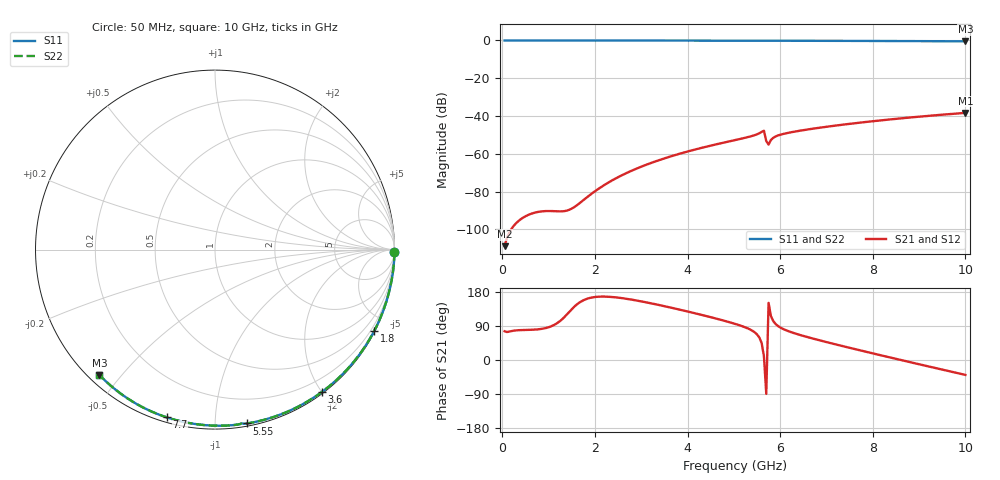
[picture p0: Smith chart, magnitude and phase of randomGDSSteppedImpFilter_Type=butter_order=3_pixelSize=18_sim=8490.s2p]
! freq	dB(S11)	phase(S11)	dB(S12)	phase(S12)
!  dB(S21)	phase(S21)	dB(S22)	phase(S22)
!S-par simulation data
#  GHz  S  DB  R 50
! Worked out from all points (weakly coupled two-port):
!   200 points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, 50 MHz to 10 GHz, reference 50 ohm
!   highest |S21| = -38.34 dB at 10 GHz (marker M1); lowest = -108.9 dB at 50 MHz (marker M2)
!   lowest |S11| = -0.4 dB at 10 GHz (marker M3), VSWR 38.79, Z = 1.54 - j21.9 ohm
!   |S11| at or under -10 dB: nowhere
!   |S22| runs from -0.4 to 0.0 dB; largest |S21 - S12| = 0
!   S11 on the Smith chart (normalised r, x): 50 MHz: open; 1.8 GHz: 0.04, -4.13; 3.6 GHz: 0.02, -2.00; 5.55 GHz: 0.02, -1.20; 7.7 GHz: 0.02, -0.75; 10 GHz: 0.03, -0.44
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0.05  -0.00 -0.8  -108.92 75.8  -108.92 75.8  -0.00 -0.8
0.9  -0.02 -13.7  -90.41 83.3  -90.41 83.3  -0.02 -13.7
1.75  -0.03 -26.5  -84.58 157.5  -84.58 157.5  -0.03 -26.5
1.8  -0.03 -27.2  -83.59 160.2  -83.59 160.2  -0.03 -27.2
2  -0.04 -30.2  -79.88 166.2  -79.88 166.2  -0.04 -30.2
2.35  -0.04 -35.3  -74.38 166.4  -74.38 166.4  -0.05 -35.3
2.65  -0.05 -39.6  -70.57 162.1  -70.57 162.1  -0.05 -39.7
3.4  -0.07 -50.4  -63.25 144.7  -63.25 144.7  -0.07 -50.4
3.6  -0.07 -53.2  -61.67 139.3  -61.67 139.3  -0.07 -53.2
4.25  -0.09 -62.2  -57.20 120.7  -57.20 120.7  -0.09 -62.2
5.05  -0.11 -72.9  -52.62 94.5  -52.62 94.5  -0.11 -72.9
5.55  -0.13 -79.5  -49.15 59.5  -49.15 59.5  -0.13 -79.5
5.65  -0.16 -80.9  -47.81 9.8  -47.81 9.8  -0.16 -80.9
5.7  -0.18 -81.3  -53.28 -89.4  -53.28 -89.4  -0.18 -81.3
5.75  -0.16 -81.9  -55.14 150.7  -55.14 150.7  -0.16 -81.9
5.8  -0.15 -82.5  -52.71 116.2  -52.71 116.2  -0.15 -82.5
5.85  -0.15 -83.2  -51.56 103.0  -51.56 103.0  -0.15 -83.2
5.95  -0.15 -84.5  -50.34 90.0  -50.34 90.0  -0.15 -84.5
6.7  -0.18 -93.9  -46.74 56.8  -46.74 56.8  -0.18 -93.9
7.7  -0.24 -106.0  -43.58 26.2  -43.58 26.2  -0.24 -106.1
8.35  -0.29 -113.7  -41.87 7.3  -41.87 7.3  -0.29 -113.7
10  -0.45 -132.7  -38.34 -39.3  -38.34 -39.3  -0.45 -132.7
